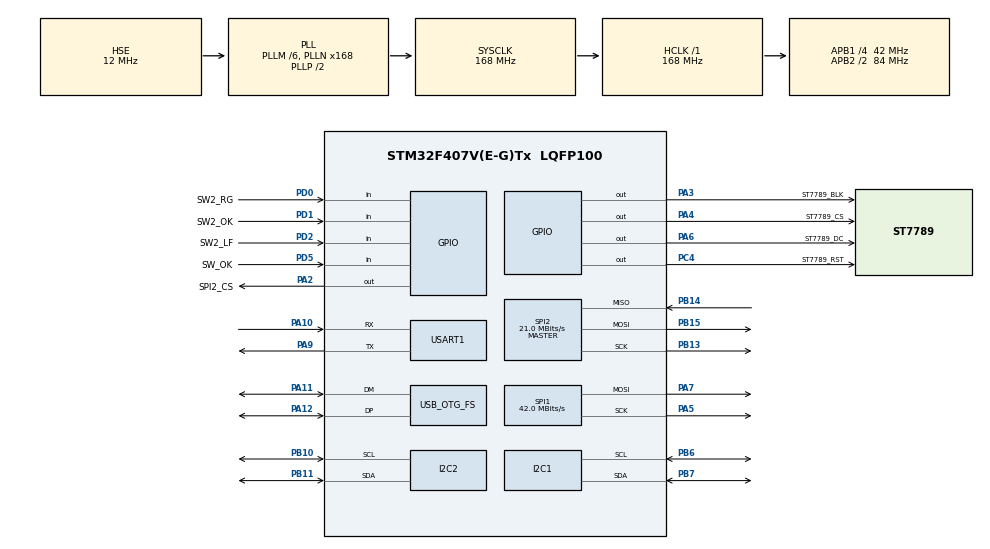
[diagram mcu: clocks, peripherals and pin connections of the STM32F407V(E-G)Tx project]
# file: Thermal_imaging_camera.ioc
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Dma.I2C2_RX.0.Direction=DMA_PERIPH_TO_MEMORY
Dma.I2C2_RX.0.FIFOMode=DMA_FIFOMODE_DISABLE
Dma.I2C2_RX.0.Instance=DMA1_Stream2
Dma.I2C2_RX.0.MemDataAlignment=DMA_MDATAALIGN_BYTE
Dma.I2C2_RX.0.MemInc=DMA_MINC_ENABLE
Dma.I2C2_RX.0.Mode=DMA_NORMAL
Dma.I2C2_RX.0.PeriphDataAlignment=DMA_PDATAALIGN_BYTE
Dma.I2C2_RX.0.PeriphInc=DMA_PINC_DISABLE
Dma.I2C2_RX.0.Priority=DMA_PRIORITY_VERY_HIGH
Dma.I2C2_TX.1.Direction=DMA_MEMORY_TO_PERIPH
Dma.I2C2_TX.1.FIFOMode=DMA_FIFOMODE_DISABLE
Dma.I2C2_TX.1.Instance=DMA1_Stream7
Dma.I2C2_TX.1.MemDataAlignment=DMA_MDATAALIGN_BYTE
Dma.I2C2_TX.1.MemInc=DMA_MINC_ENABLE
Dma.I2C2_TX.1.Mode=DMA_NORMAL
Dma.I2C2_TX.1.PeriphDataAlignment=DMA_PDATAALIGN_BYTE
Dma.I2C2_TX.1.PeriphInc=DMA_PINC_DISABLE
Dma.I2C2_TX.1.Priority=DMA_PRIORITY_HIGH
Dma.Request0=I2C2_RX
Dma.Request1=I2C2_TX
Dma.Request2=SPI1_TX
Dma.SPI1_TX.2.Direction=DMA_MEMORY_TO_PERIPH
Dma.SPI1_TX.2.FIFOMode=DMA_FIFOMODE_DISABLE
Dma.SPI1_TX.2.Instance=DMA2_Stream3
Dma.SPI1_TX.2.MemDataAlignment=DMA_MDATAALIGN_BYTE
Dma.SPI1_TX.2.MemInc=DMA_MINC_ENABLE
Dma.SPI1_TX.2.Mode=DMA_NORMAL
Dma.SPI1_TX.2.PeriphDataAlignment=DMA_PDATAALIGN_BYTE
Dma.SPI1_TX.2.PeriphInc=DMA_PINC_DISABLE
Dma.SPI1_TX.2.Priority=DMA_PRIORITY_HIGH
FATFS._MAX_SS=4096
FATFS._USE_LFN=0
I2C2.I2C_Mode=I2C_Fast
Mcu.Family=STM32F4
Mcu.Name=STM32F407V(E-G)Tx
Mcu.Package=LQFP100
NVIC.DMA1_Stream2_IRQn=true\:5\:0\:true\:false\:true\:false\:true\:true
NVIC.DMA1_Stream7_IRQn=true\:6\:0\:true\:false\:true\:false\:true\:true
NVIC.DMA2_Stream3_IRQn=true\:10\:0\:true\:false\:true\:false\:true\:true
NVIC.OTG_FS_IRQn=true\:0\:0\:false\:false\:true\:false\:true\:true
NVIC.PriorityGroup=NVIC_PRIORITYGROUP_4
PA10.Mode=Asynchronous
PA10.Signal=USART1_RX
PA11.Mode=Device_Only
PA11.Signal=USB_OTG_FS_DM
PA12.Mode=Device_Only
PA12.Signal=USB_OTG_FS_DP
PA13.Mode=Serial_Wire
PA13.Signal=SYS_JTMS-SWDIO
PA14.Mode=Serial_Wire
PA14.Signal=SYS_JTCK-SWCLK
PA2.GPIO_Label=SPI2_CS
PA2.Signal=GPIO_Output
PA3.GPIO_Label=ST7789_BLK
PA3.GPIO_PuPd=GPIO_PULLUP
PA3.PinState=GPIO_PIN_SET
PA3.Signal=GPIO_Output
PA4.GPIO_Label=ST7789_CS
PA4.GPIO_PuPd=GPIO_PULLDOWN
PA4.GPIO_Speed=GPIO_SPEED_FREQ_VERY_HIGH
PA4.PinState=GPIO_PIN_RESET
PA4.Signal=GPIO_Output
PA5.Mode=TX_Only_Simplex_Unidirect_Master
PA5.Signal=SPI1_SCK
PA6.GPIO_Label=ST7789_DC
PA6.GPIO_PuPd=GPIO_PULLUP
PA6.GPIO_Speed=GPIO_SPEED_FREQ_VERY_HIGH
PA6.Signal=GPIO_Output
PA7.Mode=TX_Only_Simplex_Unidirect_Master
PA7.Signal=SPI1_MOSI
PA9.Mode=Asynchronous
PA9.Signal=USART1_TX
PB10.Mode=I2C
PB10.Signal=I2C2_SCL
PB11.Mode=I2C
PB11.Signal=I2C2_SDA
PB13.Mode=Full_Duplex_Master
PB13.Signal=SPI2_SCK
PB14.Mode=Full_Duplex_Master
PB14.Signal=SPI2_MISO
PB15.Mode=Full_Duplex_Master
PB15.Signal=SPI2_MOSI
PB6.Mode=I2C
PB6.Signal=I2C1_SCL
PB7.Mode=I2C
PB7.Signal=I2C1_SDA
PC4.GPIO_Label=ST7789_RST
PC4.GPIO_PuPd=GPIO_PULLDOWN
PC4.Signal=GPIO_Output
PD0.GPIO_Label=SW2_RG
PD0.GPIO_PuPd=GPIO_PULLUP
PD0.Signal=GPIO_Input
PD1.GPIO_Label=SW2_OK
PD1.GPIO_PuPd=GPIO_PULLUP
PD1.Signal=GPIO_Input
PD2.GPIO_Label=SW2_LF
PD2.GPIO_PuPd=GPIO_PULLUP
PD2.Signal=GPIO_Input
PD5.GPIO_Label=SW_OK
PD5.GPIO_PuPd=GPIO_PULLUP
PD5.Signal=GPIO_Input
PH0-OSC_IN.Mode=HSE-External-Oscillator
PH0-OSC_IN.Signal=RCC_OSC_IN
PH1-OSC_OUT.Mode=HSE-External-Oscillator
PH1-OSC_OUT.Signal=RCC_OSC_OUT
ProjectManager.HeapSize=0x2000
ProjectManager.StackSize=0x1000
ProjectManager.TargetToolchain=MDK-ARM V5.32
RCC.48MHZClocksFreq_Value=48000000
RCC.AHBFreq_Value=168000000
RCC.APB1CLKDivider=RCC_HCLK_DIV4
RCC.APB1Freq_Value=42000000
RCC.APB1TimFreq_Value=84000000
RCC.APB2CLKDivider=RCC_HCLK_DIV2
RCC.APB2Freq_Value=84000000
RCC.APB2TimFreq_Value=168000000
RCC.CortexFreq_Value=168000000
RCC.HCLKFreq_Value=168000000
RCC.HSE_VALUE=12000000
RCC.HSI_VALUE=16000000
RCC.LSE_VALUE=32768
RCC.PLLM=6
RCC.PLLN=168
RCC.PLLQ=7
RCC.SYSCLKFreq_VALUE=168000000
RCC.SYSCLKSource=RCC_SYSCLKSOURCE_PLLCLK
RCC.VCOOutputFreq_Value=336000000
SPI1.CLKPhase=SPI_PHASE_1EDGE
SPI1.CLKPolarity=SPI_POLARITY_HIGH
SPI1.CalculateBaudRate=42.0 MBits/s
SPI1.Direction=SPI_DIRECTION_2LINES
SPI1.Mode=SPI_MODE_MASTER
SPI1.VirtualType=VM_MASTER
SPI2.CalculateBaudRate=21.0 MBits/s
SPI2.Direction=SPI_DIRECTION_2LINES
SPI2.Mode=SPI_MODE_MASTER
SPI2.VirtualType=VM_MASTER
USART1.VirtualMode=VM_ASYNC
USB_DEVICE.CLASS_NAME_FS=MSC
USB_DEVICE.MSC_MEDIA_PACKET-MSC_FS=4096
USB_DEVICE.VirtualMode-MSC_FS=Msc
USB_DEVICE.VirtualModeFS=Msc_FS
USB_OTG_FS.VirtualMode=Device_Only
VP_FATFS_VS_Generic.Mode=User_defined
VP_TIM12_VS_ClockSourceINT.Mode=Internal
VP_USB_DEVICE_VS_USB_DEVICE_MSC_FS.Mode=MSC_FS
board=custom

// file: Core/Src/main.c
/* USER CODE BEGIN Header */
/**
  ******************************************************************************
  * @file           : main.c
  * @brief          : Main program body
  ******************************************************************************
  * @attention
  *
  * Copyright (c) 2025 STMicroelectronics.
  * All rights reserved.
  *
  * This software is licensed under terms that can be found in the LICENSE file
  * in the root directory of this software component.
  * If no LICENSE file comes with this software, it is provided AS-IS.
  *
  ******************************************************************************
  */
/* USER CODE END Header */
#include "main.h"
#include "dma.h"
#include "fatfs.h"
#include "i2c.h"
#include "spi.h"
#include "tim.h"
#include "usart.h"
#include "usb_device.h"
#include "gpio.h"

/* USER CODE BEGIN Includes */
#include "coreapp.h"
#include "w25qxx.h"
#include "st7789.h"
#include "DS3231.h"
/* USER CODE END Includes */

/* USER CODE BEGIN PV */
W25QXX_HandleTypeDef w25q64;
/* USER CODE END PV */

void SystemClock_Config(void);

int main(void)
{

  /* MCU Configuration--------------------------------------------------------*/

  /* Reset of all peripherals, Initializes the Flash interface and the Systick. */
  HAL_Init();

  /* Configure the system clock */
  SystemClock_Config();

  /* Initialize all configured peripherals */
  MX_GPIO_Init();
  MX_DMA_Init();
  MX_I2C1_Init();
  MX_I2C2_Init();
  MX_SPI1_Init();
  MX_FATFS_Init();
  MX_USB_DEVICE_Init();
  MX_SPI2_Init();
  MX_TIM12_Init();
  MX_USART1_UART_Init();
  /* USER CODE BEGIN 2 */

  // Writetime(DS3231_YEAR_REG,25);
  // Writetime(DS3231_MONTH_CENTURY_REG,3);
  // Writetime(DS3231_DAY_REG,7);
  // Writetime(DS3231_DATE_REG,16);
  // Writetime(DS3231_HOUR_REG,17);
  // Writetime(DS3231_MINUTES_REG,21);
  // Writetime(DS3231_SECONDS_REG,00);

  HAL_Delay(100);
  char buf[256];
  // 初始化屏幕
  ST7789_Init();
  sprintf(buf, "ST7789 Init");
  ST7789_WriteString(0, 0, buf, Font_11x18, WHITE, BLACK);

  sprintf(buf, "Start... ");
  ST7789_WriteString(0, 18, buf, Font_11x18, WHITE, BLACK);

  w25qxx_init(&w25q64, &hspi2, SPI2_CS_GPIO_Port, SPI2_CS_Pin);
  if (w25q64.device_id != 0x00 && w25q64.device_id != 0xFF) {
    sprintf(buf, "W25Qxx Init,ID:0x%04x ",w25q64.device_id);
  }else {
    sprintf(buf, "W25Qxx Init Failed ");
  }
  ST7789_WriteString(0, 36, buf, Font_11x18, WHITE, BLACK);

  HAL_Delay(1000);

  FRESULT res;
  res = f_mount(&USERFatFS, "0:", 1);
  if (res == FR_OK) {
    sprintf(buf,"Mounted successfully.  ");
  }
  else {
    sprintf(buf,"Failed to mount.Error:%d  ", res);
  }
  ST7789_WriteString(0, 54, buf, Font_11x18, WHITE, BLACK);

  coreapp_init();

  /* USER CODE END 2 */

  /* Infinite loop */
  while (1)
  {

    /* USER CODE BEGIN 3 */
    coreapp_loop();
  }
  /* USER CODE END 3 */
}

void SystemClock_Config(void)
{
  RCC_OscInitTypeDef RCC_OscInitStruct = {0};
  RCC_ClkInitTypeDef RCC_ClkInitStruct = {0};

  /** Configure the main internal regulator output voltage
  */
  __HAL_RCC_PWR_CLK_ENABLE();
  __HAL_PWR_VOLTAGESCALING_CONFIG(PWR_REGULATOR_VOLTAGE_SCALE1);

  /** Initializes the RCC Oscillators according to the specified parameters
  * in the RCC_OscInitTypeDef structure.
  */
  RCC_OscInitStruct.OscillatorType = RCC_OSCILLATORTYPE_HSE;
  RCC_OscInitStruct.HSEState = RCC_HSE_ON;
  RCC_OscInitStruct.PLL.PLLState = RCC_PLL_ON;
  RCC_OscInitStruct.PLL.PLLSource = RCC_PLLSOURCE_HSE;
  RCC_OscInitStruct.PLL.PLLM = 6;
  RCC_OscInitStruct.PLL.PLLN = 168;
  RCC_OscInitStruct.PLL.PLLP = RCC_PLLP_DIV2;
  RCC_OscInitStruct.PLL.PLLQ = 7;
  if (HAL_RCC_OscConfig(&RCC_OscInitStruct) != HAL_OK)
  {
    Error_Handler();
  }

  /** Initializes the CPU, AHB and APB buses clocks
  */
  RCC_ClkInitStruct.ClockType = RCC_CLOCKTYPE_HCLK|RCC_CLOCKTYPE_SYSCLK
                              |RCC_CLOCKTYPE_PCLK1|RCC_CLOCKTYPE_PCLK2;
  RCC_ClkInitStruct.SYSCLKSource = RCC_SYSCLKSOURCE_PLLCLK;
  RCC_ClkInitStruct.AHBCLKDivider = RCC_SYSCLK_DIV1;
  RCC_ClkInitStruct.APB1CLKDivider = RCC_HCLK_DIV4;
  RCC_ClkInitStruct.APB2CLKDivider = RCC_HCLK_DIV2;

  if (HAL_RCC_ClockConfig(&RCC_ClkInitStruct, FLASH_LATENCY_5) != HAL_OK)
  {
    Error_Handler();
  }
}

void Error_Handler(void)
{
  __disable_irq();
  while (1)
  {
  }
}
